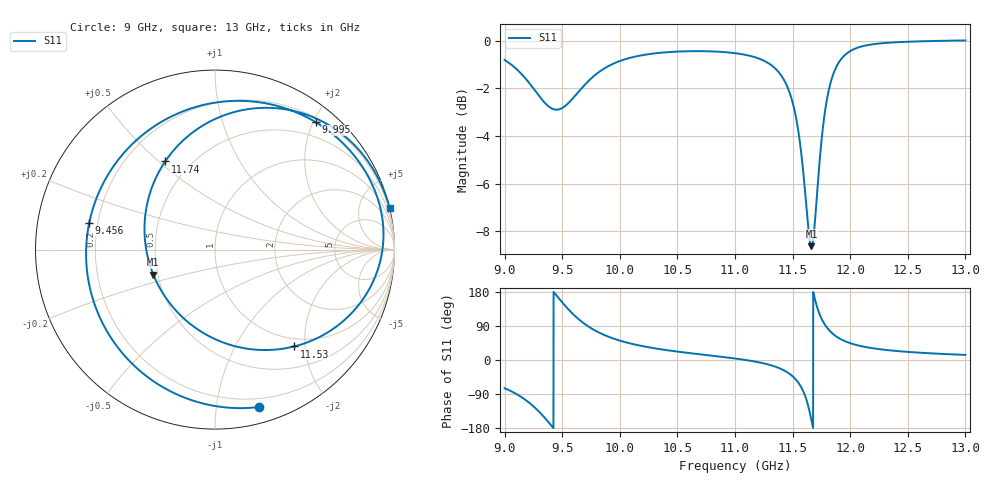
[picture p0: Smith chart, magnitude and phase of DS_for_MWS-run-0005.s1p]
! TOUCHSTONE file generated by CST DESIGN STUDIO
! Date and time: Tue Feb  4 16:26:39 2025
! Project name: C:\Work\MatlabApps\UnitCellOptimizationMatlab\CST\unitcell.cst
! Tree item: Tasks\Sweep1\SPara1\S-Parameters
! Header version: 2024
! Port assignment regex: !\s*Touchstone port\s*([0-9]+)\s*=\s*(CST MWS port|CST DES external port|CST DES block port)\s*(.+)\s* \(\"(.*)\"\)(\s*mode\s*([0-9]+))?.*
! Touchstone port assignment:
! Touchstone port 1 = CST DES external port 1 ("")
# GHz S MA R 50
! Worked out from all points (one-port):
!   4001 points, 9 GHz to 13 GHz, reference 50 ohm
!   lowest |S11| = -8.6 dB at 11.66 GHz (marker M1), VSWR 2.18, Z = 23.6 - j7.66 ohm
!   |S11| at or under -10 dB: nowhere
!   S11 on the Smith chart (normalised r, x): 9 GHz: 0.13, -1.31; 9.456 GHz: 0.17, +0.10; 9.995 GHz: 0.26, +2.04; 11.53 GHz: 0.85, -1.79; 11.74 GHz: 0.36, +0.52; 13 GHz: -0.02, +8.48
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9  0.9104 -74.5
9.132  0.8581 -95.2
9.236  0.8019 -118.4
9.358  0.7366 -155.8
9.456  0.7165 168.2
9.5  0.7222 152.1
9.597  0.7591 120.2
9.696  0.808 94.9
9.841  0.8664 69.3
9.995  0.9049 51.6
10  0.9059 51.2
10.214  0.9335 35.6
10.5  0.9481 22.2
11  0.9409 4.0
11.33  0.8823 -15.6
11.5  0.7418 -42.9
11.526  0.6968 -50.8
11.601  0.5041 -88.7
11.663  0.3708 -157.9
11.698  0.4294 155.1
11.736  0.5642 119.5
11.778  0.7018 94.4
11.825  0.8077 76.1
11.904  0.9021 57.4
12  0.9504 44.5
12.188  0.9816 31.4
12.5  0.9943 21.4
13  1 13.4
